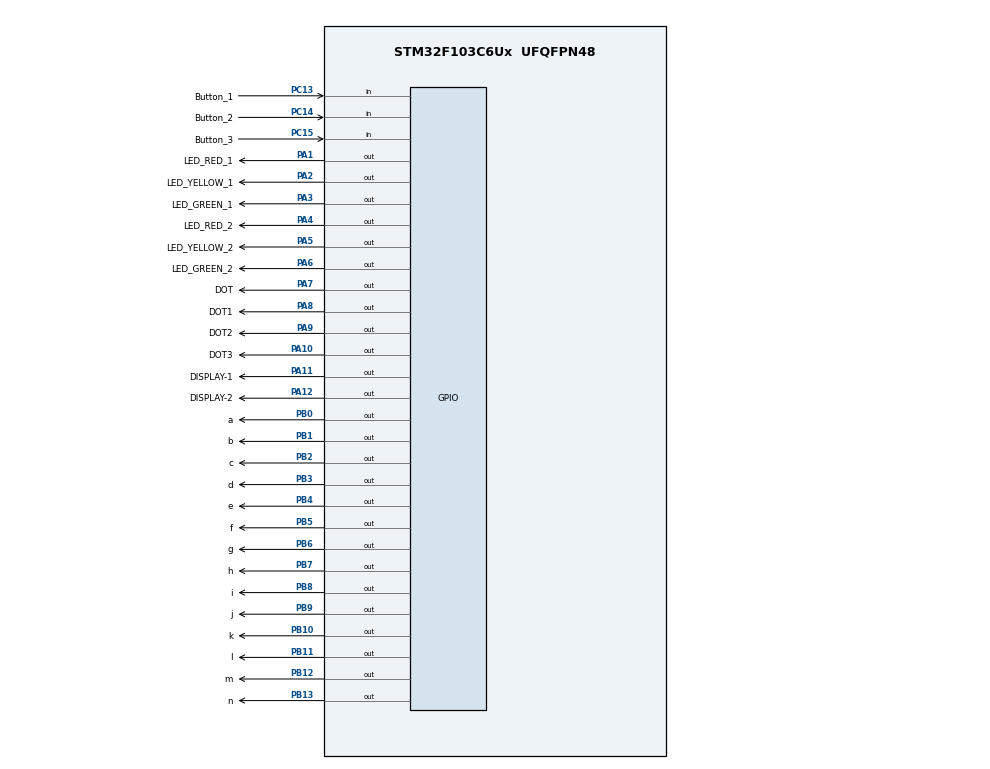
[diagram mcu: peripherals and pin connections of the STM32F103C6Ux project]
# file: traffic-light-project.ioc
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Mcu.Family=STM32F1
Mcu.Name=STM32F103C6Ux
Mcu.Package=UFQFPN48
NVIC.PriorityGroup=NVIC_PRIORITYGROUP_4
NVIC.TIM2_IRQn=true\:0\:0\:false\:false\:true\:true\:true
PA1.GPIO_Label=LED_RED_1
PA1.Signal=GPIO_Output
PA10.GPIO_Label=DOT3
PA10.Signal=GPIO_Output
PA11.GPIO_Label=DISPLAY-1
PA11.Signal=GPIO_Output
PA12.GPIO_Label=DISPLAY-2
PA12.Signal=GPIO_Output
PA2.GPIO_Label=LED_YELLOW_1
PA2.Signal=GPIO_Output
PA3.GPIO_Label=LED_GREEN_1
PA3.Signal=GPIO_Output
PA4.GPIO_Label=LED_RED_2
PA4.Signal=GPIO_Output
PA5.GPIO_Label=LED_YELLOW_2
PA5.Signal=GPIO_Output
PA6.GPIO_Label=LED_GREEN_2
PA6.Signal=GPIO_Output
PA7.GPIO_Label=DOT
PA7.Signal=GPIO_Output
PA8.GPIO_Label=DOT1
PA8.Signal=GPIO_Output
PA9.GPIO_Label=DOT2
PA9.Signal=GPIO_Output
PB0.GPIO_Label=a
PB0.Signal=GPIO_Output
PB1.GPIO_Label=b
PB1.Signal=GPIO_Output
PB10.GPIO_Label=k
PB10.Signal=GPIO_Output
PB11.GPIO_Label=l
PB11.Signal=GPIO_Output
PB12.GPIO_Label=m
PB12.Signal=GPIO_Output
PB13.GPIO_Label=n
PB13.Signal=GPIO_Output
PB2.GPIO_Label=c
PB2.Signal=GPIO_Output
PB3.GPIO_Label=d
PB3.Signal=GPIO_Output
PB4.GPIO_Label=e
PB4.Signal=GPIO_Output
PB5.GPIO_Label=f
PB5.Signal=GPIO_Output
PB6.GPIO_Label=g
PB6.Signal=GPIO_Output
PB7.GPIO_Label=h
PB7.Signal=GPIO_Output
PB8.GPIO_Label=i
PB8.Signal=GPIO_Output
PB9.GPIO_Label=j
PB9.Signal=GPIO_Output
PC13-TAMPER-RTC.GPIO_Label=Button_1
PC13-TAMPER-RTC.GPIO_PuPd=GPIO_PULLUP
PC13-TAMPER-RTC.Signal=GPIO_Input
PC14-OSC32_IN.GPIO_Label=Button_2
PC14-OSC32_IN.GPIO_PuPd=GPIO_PULLUP
PC14-OSC32_IN.Signal=GPIO_Input
PC15-OSC32_OUT.GPIO_Label=Button_3
PC15-OSC32_OUT.GPIO_PuPd=GPIO_PULLUP
PC15-OSC32_OUT.Signal=GPIO_Input
ProjectManager.HeapSize=0x200
ProjectManager.StackSize=0x400
ProjectManager.TargetToolchain=STM32CubeIDE
RCC.APB1Freq_Value=8000000
RCC.APB2Freq_Value=8000000
TIM2.Period=9
TIM2.Prescaler=7999
VP_SYS_VS_ND.Mode=No_Debug
VP_TIM2_VS_ClockSourceINT.Mode=Internal
board=custom

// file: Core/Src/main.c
/* USER CODE BEGIN Header */
/**
  ******************************************************************************
  * @file           : main.c
  * @brief          : Main program body
  ******************************************************************************
  * @attention
  *
  * <h2><center>&copy; Copyright (c) 2023 STMicroelectronics.
  * All rights reserved.</center></h2>
  *
  * This software component is licensed by ST under BSD 3-Clause license,
  * the "License"; You may not use this file except in compliance with the
  * License. You may obtain a copy of the License at:
  *                        opensource.org/licenses/BSD-3-Clause
  *
  ******************************************************************************
  */
/* USER CODE END Header */
#include "main.h"

/* USER CODE BEGIN Includes */
#include "button.h"
#include "fsm.h"
#include "global.h"
#include "led7SEG.h"
#include "software_timer.h"
/* USER CODE END Includes */

TIM_HandleTypeDef htim2;

void SystemClock_Config(void);
static void MX_GPIO_Init(void);
static void MX_TIM2_Init(void);

int main(void)
{

  /* MCU Configuration--------------------------------------------------------*/

  /* Reset of all peripherals, Initializes the Flash interface and the Systick. */
  HAL_Init();

  /* Configure the system clock */
  SystemClock_Config();

  /* Initialize all configured peripherals */
  MX_GPIO_Init();
  MX_TIM2_Init();
  /* USER CODE BEGIN 2 */
  HAL_TIM_Base_Start_IT(&htim2);
  /* USER CODE END 2 */

  /* Infinite loop */
  /* USER CODE BEGIN WHILE */
  setTimer1(1000);
  setTimer2(1000);
  setTimer_LED(1000);
  HAL_GPIO_WritePin(DOT_GPIO_Port, DOT_Pin, GPIO_PIN_SET);
        HAL_GPIO_WritePin(DOT1_GPIO_Port, DOT1_Pin, GPIO_PIN_RESET);
        HAL_GPIO_WritePin(DOT2_GPIO_Port, DOT2_Pin, GPIO_PIN_RESET);
        HAL_GPIO_WritePin(DOT3_GPIO_Port, DOT3_Pin, GPIO_PIN_RESET);
  // timer_LED_flag = 1;
  while (1)
  {
    /* USER CODE END WHILE */

    /* USER CODE BEGIN 3 */
    fsm_run();
    update7SEG();

  }
  /* USER CODE END 3 */
}

void SystemClock_Config(void)
{
  RCC_OscInitTypeDef RCC_OscInitStruct = {0};
  RCC_ClkInitTypeDef RCC_ClkInitStruct = {0};

  /** Initializes the RCC Oscillators according to the specified parameters
  * in the RCC_OscInitTypeDef structure.
  */
  RCC_OscInitStruct.OscillatorType = RCC_OSCILLATORTYPE_HSI;
  RCC_OscInitStruct.HSIState = RCC_HSI_ON;
  RCC_OscInitStruct.HSICalibrationValue = RCC_HSICALIBRATION_DEFAULT;
  RCC_OscInitStruct.PLL.PLLState = RCC_PLL_NONE;
  if (HAL_RCC_OscConfig(&RCC_OscInitStruct) != HAL_OK)
  {
    Error_Handler();
  }
  /** Initializes the CPU, AHB and APB buses clocks
  */
  RCC_ClkInitStruct.ClockType = RCC_CLOCKTYPE_HCLK|RCC_CLOCKTYPE_SYSCLK
                              |RCC_CLOCKTYPE_PCLK1|RCC_CLOCKTYPE_PCLK2;
  RCC_ClkInitStruct.SYSCLKSource = RCC_SYSCLKSOURCE_HSI;
  RCC_ClkInitStruct.AHBCLKDivider = RCC_SYSCLK_DIV1;
  RCC_ClkInitStruct.APB1CLKDivider = RCC_HCLK_DIV1;
  RCC_ClkInitStruct.APB2CLKDivider = RCC_HCLK_DIV1;

  if (HAL_RCC_ClockConfig(&RCC_ClkInitStruct, FLASH_LATENCY_0) != HAL_OK)
  {
    Error_Handler();
  }
}

static void MX_TIM2_Init(void)
{

  TIM_ClockConfigTypeDef sClockSourceConfig = {0};
  TIM_MasterConfigTypeDef sMasterConfig = {0};

  htim2.Instance = TIM2;
  htim2.Init.Prescaler = 7999;
  htim2.Init.CounterMode = TIM_COUNTERMODE_UP;
  htim2.Init.Period = 9;
  htim2.Init.ClockDivision = TIM_CLOCKDIVISION_DIV1;
  htim2.Init.AutoReloadPreload = TIM_AUTORELOAD_PRELOAD_DISABLE;
  if (HAL_TIM_Base_Init(&htim2) != HAL_OK)
  {
    Error_Handler();
  }
  sClockSourceConfig.ClockSource = TIM_CLOCKSOURCE_INTERNAL;
  if (HAL_TIM_ConfigClockSource(&htim2, &sClockSourceConfig) != HAL_OK)
  {
    Error_Handler();
  }
  sMasterConfig.MasterOutputTrigger = TIM_TRGO_RESET;
  sMasterConfig.MasterSlaveMode = TIM_MASTERSLAVEMODE_DISABLE;
  if (HAL_TIMEx_MasterConfigSynchronization(&htim2, &sMasterConfig) != HAL_OK)
  {
    Error_Handler();
  }

}

static void MX_GPIO_Init(void)
{
  GPIO_InitTypeDef GPIO_InitStruct = {0};

  /* GPIO Ports Clock Enable */
  __HAL_RCC_GPIOC_CLK_ENABLE();
  __HAL_RCC_GPIOA_CLK_ENABLE();
  __HAL_RCC_GPIOB_CLK_ENABLE();

  /*Configure GPIO pin Output Level */
  HAL_GPIO_WritePin(GPIOA, LED_RED_1_Pin|LED_YELLOW_1_Pin|LED_GREEN_1_Pin|LED_RED_2_Pin
                          |LED_YELLOW_2_Pin|LED_GREEN_2_Pin|DOT_Pin|DOT1_Pin
                          |DOT2_Pin|DOT3_Pin|DISPLAY_1_Pin|DISPLAY_2_Pin, GPIO_PIN_RESET);

  /*Configure GPIO pin Output Level */
  HAL_GPIO_WritePin(GPIOB, a_Pin|b_Pin|c_Pin|k_Pin
                          |l_Pin|m_Pin|n_Pin|d_Pin
                          |e_Pin|f_Pin|g_Pin|h_Pin
                          |i_Pin|j_Pin, GPIO_PIN_RESET);

  /*Configure GPIO pins : Button_1_Pin Button_2_Pin Button_3_Pin */
  GPIO_InitStruct.Pin = Button_1_Pin|Button_2_Pin|Button_3_Pin;
  GPIO_InitStruct.Mode = GPIO_MODE_INPUT;
  GPIO_InitStruct.Pull = GPIO_PULLUP;
  HAL_GPIO_Init(GPIOC, &GPIO_InitStruct);

  /*Configure GPIO pins : LED_RED_1_Pin LED_YELLOW_1_Pin LED_GREEN_1_Pin LED_RED_2_Pin
                           LED_YELLOW_2_Pin LED_GREEN_2_Pin DOT_Pin DOT1_Pin
                           DOT2_Pin DOT3_Pin DISPLAY_1_Pin DISPLAY_2_Pin */
  GPIO_InitStruct.Pin = LED_RED_1_Pin|LED_YELLOW_1_Pin|LED_GREEN_1_Pin|LED_RED_2_Pin
                          |LED_YELLOW_2_Pin|LED_GREEN_2_Pin|DOT_Pin|DOT1_Pin
                          |DOT2_Pin|DOT3_Pin|DISPLAY_1_Pin|DISPLAY_2_Pin;
  GPIO_InitStruct.Mode = GPIO_MODE_OUTPUT_PP;
  GPIO_InitStruct.Pull = GPIO_NOPULL;
  GPIO_InitStruct.Speed = GPIO_SPEED_FREQ_LOW;
  HAL_GPIO_Init(GPIOA, &GPIO_InitStruct);

  /*Configure GPIO pins : a_Pin b_Pin c_Pin k_Pin
                           l_Pin m_Pin n_Pin d_Pin
                           e_Pin f_Pin g_Pin h_Pin
                           i_Pin j_Pin */
  GPIO_InitStruct.Pin = a_Pin|b_Pin|c_Pin|k_Pin
                          |l_Pin|m_Pin|n_Pin|d_Pin
                          |e_Pin|f_Pin|g_Pin|h_Pin
                          |i_Pin|j_Pin;
  GPIO_InitStruct.Mode = GPIO_MODE_OUTPUT_PP;
  GPIO_InitStruct.Pull = GPIO_NOPULL;
  GPIO_InitStruct.Speed = GPIO_SPEED_FREQ_LOW;
  HAL_GPIO_Init(GPIOB, &GPIO_InitStruct);

}

/* USER CODE BEGIN 4 */
void HAL_TIM_PeriodElapsedCallback(TIM_HandleTypeDef *htim) {
  timerRun();
  getKeyInput();
}
/* USER CODE END 4 */

void Error_Handler(void)
{
  __disable_irq();
  while (1)
  {
  }
}

/************************ (C) COPYRIGHT STMicroelectronics *****END OF FILE****/
